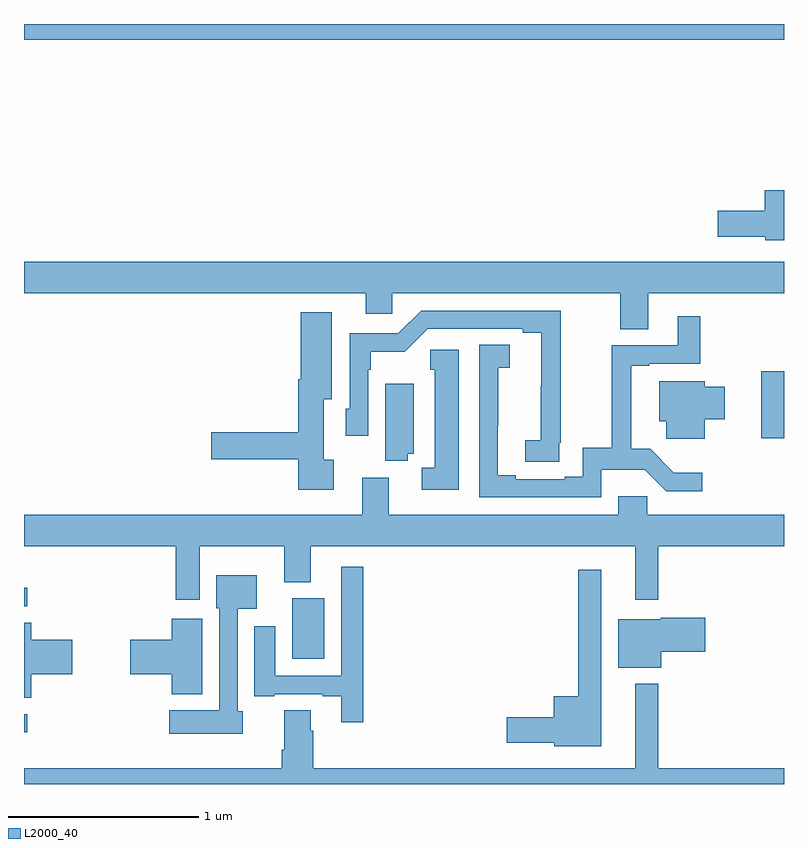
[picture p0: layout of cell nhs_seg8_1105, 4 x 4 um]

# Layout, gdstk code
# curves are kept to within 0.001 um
import gdstk
lib = gdstk.Library(unit=1e-6, precision=1e-09)
def R(c, l, rs):  # rectangles x0, y0, x1, y1
    for r in rs: c.add(gdstk.rectangle(r[:2], r[2:], *l))
def P(c, l, *ps):  # polygons
    for p in ps: c.add(gdstk.Polygon(p, *l))
L2000_40 = (2000, 40)

nhs_seg8_1105 = lib.new_cell('nhs_seg8_1105')
R(nhs_seg8_1105, L2000_40, [(181,1130.172,181.018,1130.268), (182.411,1130.558,182.581,1130.878), (181,1130.835,181.018,1130.934), (184.88,1131.719,185,1132.072), (181,1133.816,185,1133.9)])
P(nhs_seg8_1105, L2000_40, [(185,1133.026),(184.898,1133.026),(184.898,1132.916),(184.65,1132.916),(184.65,1132.781),(184.902,1132.781),(184.902,1132.763),(185,1132.763)],
  [(184.285,1132.484),(185,1132.484),(185,1132.648),(181,1132.648),(181,1132.484),(182.798,1132.484),(182.798,1132.374),(182.937,1132.374),(182.937,1132.484),(184.138,1132.484),(184.138,1132.294),(184.285,1132.294)],
  [(183.818,1131.697),(183.824,1131.697),(183.824,1132.392),(183.09,1132.392),(182.97,1132.272),(182.715,1132.272),(182.715,1131.876),(182.694,1131.876),(182.694,1131.732),(182.811,1131.732),(182.811,1132.079),(182.824,1132.079),(182.824,1132.175),(183.005,1132.175),(183.126,1132.296),(183.626,1132.296),(183.626,1132.276),(183.722,1132.276),(183.721,1131.71),(183.639,1131.71),(183.639,1131.595),(183.818,1131.595)],
  [(182.629,1131.606),(182.578,1131.606),(182.578,1131.926),(182.62,1131.926),(182.62,1132.384),(182.456,1132.384),(182.456,1132.03),(182.444,1132.03),(182.444,1131.752),(181.986,1131.752),(181.986,1131.61),(182.444,1131.61),(182.444,1131.45),(182.629,1131.45)],
  [(184.038,1131.554),(184.267,1131.554),(184.38,1131.441),(184.57,1131.441),(184.57,1131.538),(184.421,1131.538),(184.295,1131.664),(184.195,1131.664),(184.195,1132.101),(184.291,1132.101),(184.291,1132.113),(184.559,1132.113),(184.559,1132.363),(184.442,1132.363),(184.442,1132.209),(184.093,1132.209),(184.093,1131.671),(183.942,1131.671),(183.942,1131.518),(183.845,1131.518),(183.845,1131.504),(183.589,1131.504),(183.589,1131.524),(183.493,1131.524),(183.493,1131.787),(183.495,1131.787),(183.495,1132.091),(183.556,1132.091),(183.556,1132.211),(183.396,1132.211),(183.396,1131.408),(184.038,1131.408)],
  [(183.289,1132.186),(183.139,1132.186),(183.139,1132.08),(183.161,1132.08),(183.161,1131.564),(183.093,1131.564),(183.093,1131.449),(183.289,1131.449)],
  [(184.582,1131.821),(184.687,1131.821),(184.687,1131.992),(184.582,1131.992),(184.582,1132.021),(184.343,1132.021),(184.343,1131.809),(184.379,1131.809),(184.379,1131.716),(184.582,1131.716)],
  [(183.02,1131.638),(183.052,1131.638),(183.052,1132.006),(182.9,1132.006),(182.9,1131.601),(183.02,1131.601)],
  [(181.924,1131.152),(182.369,1131.152),(182.369,1130.963),(182.509,1130.963),(182.509,1131.152),(184.217,1131.152),(184.217,1130.871),(184.339,1130.871),(184.339,1131.152),(185,1131.152),(185,1131.316),(184.279,1131.316),(184.279,1131.414),(184.127,1131.414),(184.127,1131.316),(182.92,1131.316),(182.92,1131.511),(182.78,1131.511),(182.78,1131.316),(181,1131.316),(181,1131.152),(181.799,1131.152),(181.799,1130.871),(181.924,1130.871)],
  [(182.786,1131.043),(182.67,1131.043),(182.67,1130.469),(182.323,1130.469),(182.323,1130.731),(182.213,1130.731),(182.213,1130.361),(182.317,1130.361),(182.317,1130.373),(182.573,1130.373),(182.573,1130.361),(182.669,1130.361),(182.669,1130.226),(182.786,1130.226)],
  [(184.039,1131.028),(183.918,1131.028),(183.918,1130.362),(183.788,1130.362),(183.788,1130.252),(183.54,1130.252),(183.54,1130.117),(183.792,1130.117),(183.792,1130.099),(184.039,1130.099)],
  [(182.152,1130.283),(182.124,1130.283),(182.124,1130.822),(182.224,1130.822),(182.224,1130.998),(182.012,1130.998),(182.012,1130.826),(182.028,1130.826),(182.028,1130.287),(181.764,1130.287),(181.764,1130.165),(182.152,1130.165)],
  [(184.354,1130.597),(184.585,1130.597),(184.585,1130.775),(184.35,1130.775),(184.35,1130.767),(184.127,1130.767),(184.127,1130.513),(184.354,1130.513)],
  [(181.939,1130.77),(181.778,1130.77),(181.778,1130.66),(181.56,1130.66),(181.56,1130.477),(181.778,1130.477),(181.778,1130.372),(181.939,1130.372)],
  [(181.037,1130.477),(181.255,1130.477),(181.255,1130.66),(181.037,1130.66),(181.037,1130.75),(181,1130.75),(181,1130.353),(181.037,1130.353)],
  [(185,1129.984),(184.339,1129.984),(184.339,1130.428),(184.217,1130.428),(184.217,1129.984),(182.522,1129.984),(182.522,1130.18),(182.509,1130.18),(182.509,1130.288),(182.369,1130.288),(182.369,1130.08),(182.357,1130.08),(182.357,1129.984),(181,1129.984),(181,1129.9),(185,1129.9)])

lib.write_gds('nhs_seg8_1105.gds')
